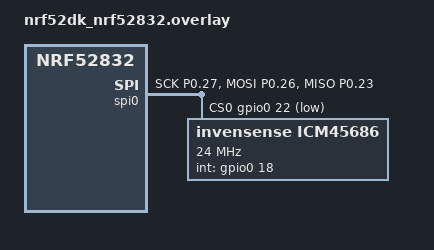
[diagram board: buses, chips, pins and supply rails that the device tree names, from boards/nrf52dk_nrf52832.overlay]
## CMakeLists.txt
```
#
# Copyright (c) 2024 TDK Invensense
#
# SPDX-License-Identifier: Apache-2.0
#

cmake_minimum_required(VERSION 3.20.0)
find_package(Zephyr REQUIRED HINTS $ENV{ZEPHYR_BASE})
project(icm45686)

FILE(GLOB app_sources src/*.c)
target_sources(app PRIVATE ${app_sources})
```

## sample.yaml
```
#
# Copyright (c) 2024 TDK Invensense
#
# SPDX-License-Identifier: Apache-2.0
#

sample:
  name: ICM45686 Sensor Sample
tests:
  sample.sensor.icm45686:
    build_only: true
    depends_on: spi
    platform_allow: nrf52dk/nrf52832
    integration_platforms:
      - nrf52dk/nrf52832
    tags: sensors
```

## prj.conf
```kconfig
#
# Copyright (c) 2019 Nordic Semiconductor ASA
#
# SPDX-License-Identifier: Apache-2.0
#

CONFIG_LOG=y
CONFIG_SPI=y
CONFIG_SENSOR=y
CONFIG_CBPRINTF_FP_SUPPORT=y
CONFIG_ICM45686=y
CONFIG_SENSOR_ASYNC_API=y
```

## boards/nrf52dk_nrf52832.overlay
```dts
/*
 * Copyright (c) 2020 TDK Invensense
 *
 * SPDX-License-Identifier: Apache-2.0
 */

/*
 * Get a node identifier for TDK IMU sensor supporting APEX feature.
 */
/ {
	aliases {
		tdk-apex-sensor0 = &icm45686;
	};
};

#include <zephyr/dt-bindings/sensor/icm45686.h>

&pinctrl {
        spi0_default_alt: spi0_default_alt {
                group1 {
                        psels = <NRF_PSEL(SPIM_SCK, 0, 27)>,
                                <NRF_PSEL(SPIM_MOSI, 0, 26)>,
                                <NRF_PSEL(SPIM_MISO, 0, 23)>;
                };
        };

        spi0_sleep_alt: spi0_sleep_alt {
                group1 {
                        psels = <NRF_PSEL(SPIM_SCK, 0, 27)>,
                                <NRF_PSEL(SPIM_MOSI, 0, 26)>,
                                <NRF_PSEL(SPIM_MISO, 0, 23)>;
                        low-power-enable;
                };
        };
};

&spi0 {
        compatible = "nordic,nrf-spi";
        status = "okay";
        pinctrl-0 = <&spi0_default_alt>;
        pinctrl-1 = <&spi0_sleep_alt>;
        pinctrl-names = "default", "sleep";
        cs-gpios = <&gpio0 22 GPIO_ACTIVE_LOW>;
        icm45686:icm45686@0 {
                compatible = "invensense,icm45686";
                spi-max-frequency = <24000000>;
                reg = <0>;
		status = "okay";
                int-gpios = <&gpio0 18 GPIO_ACTIVE_HIGH>;
		label = "icm45686";
	        accel-pwr-mode = <ICM45686_DT_ACCEL_LN>;
	        accel-fs = <ICM45686_DT_ACCEL_FS_32>;
	        accel-odr = <ICM45686_DT_ACCEL_ODR_800>;
	        gyro-pwr-mode= <ICM45686_DT_GYRO_LN>;
	        gyro-fs = <ICM45686_DT_GYRO_FS_4000>;
	        gyro-odr = <ICM45686_DT_GYRO_ODR_800>;
        };
};
      
```

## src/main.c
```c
/*
 * Copyright (c) 2024 TDK Invensense
 *
 * SPDX-License-Identifier: Apache-2.0
 */

//#include <zephyr/kernel.h>
#include <zephyr/device.h>
#include <zephyr/drivers/sensor.h>
#include <stdio.h>

#ifdef CONFIG_ICM45686_STREAM
#define NUM_SENSORS 1

#define ICM45686_TRIGGERS                                   \
        {SENSOR_TRIG_FIFO_FULL, SENSOR_STREAM_DATA_INCLUDE}, \
        {SENSOR_TRIG_FIFO_WATERMARK, SENSOR_STREAM_DATA_INCLUDE}

SENSOR_DT_STREAM_IODEV(
    icm45686_iodev,
    DT_ALIAS(tdk_apex_sensor0),
    ICM45686_TRIGGERS
);
#endif

#ifdef CONFIG_ICM45686_TRIGGER
static const char *now_str(void)
{
	static char buf[16]; /* ...HH:MM:SS.MMM */
	uint32_t now = k_uptime_get_32();
	unsigned int ms = now % MSEC_PER_SEC;
	unsigned int s;
	unsigned int min;
	unsigned int h;

	now /= MSEC_PER_SEC;
	s = now % 60U;
	now /= 60U;
	min = now % 60U;
	now /= 60U;
	h = now;

	snprintf(buf, sizeof(buf), "%u:%02u:%02u.%03u",
		 h, min, s, ms);
	return buf;
}

static int process_icm45686(const struct device *dev)
{
	struct sensor_value accel[3];
	struct sensor_value gyro[3];

	int rc = sensor_sample_fetch(dev);

	if (rc == 0) {
		rc = sensor_channel_get(dev, SENSOR_CHAN_ACCEL_XYZ,
					accel);
	}

	if (rc == 0) {
		rc = sensor_channel_get(dev, SENSOR_CHAN_GYRO_XYZ,
					gyro);
	}

	if (rc == 0) {
		printf("[%s]\n"
		       "  accel % f % f % f m/s/s\n"
		       "  gyro  % f % f % f rad/s\n",
		       now_str(),
		       sensor_value_to_double(&accel[0]),
		       sensor_value_to_double(&accel[1]),
		       sensor_value_to_double(&accel[2]),
		       sensor_value_to_double(&gyro[0]),
		       sensor_value_to_double(&gyro[1]),
                       sensor_value_to_double(&gyro[2]));

	} else {
		printf("sample fetch/get failed: %d\n", rc);
	}

	return rc;
}

static struct sensor_trigger data_trigger;

static void handle_icm45686_drdy(const struct device *dev,
				 const struct sensor_trigger *trig)
{
	int rc = process_icm45686(dev);

	if (rc != 0) {
		printf("cancelling trigger due to failure: %d\n", rc);
		(void)sensor_trigger_set(dev, trig, NULL);
		return;
	}
}
#endif

#ifdef CONFIG_ICM45686_STREAM
RTIO_DEFINE_WITH_MEMPOOL(accel_ctx, NUM_SENSORS, NUM_SENSORS,
                         NUM_SENSORS * 20, 256, sizeof(void *));

static int print_accels_stream(const struct device *dev, struct rtio_iodev *iodev)
{
        int rc = 0;
        struct sensor_three_axis_data accel_data = {0};
        const struct sensor_decoder_api *decoder;
        struct rtio_cqe *cqe;
        uint8_t *buf;
        uint32_t buf_len;
        struct rtio_sqe *handles[NUM_SENSORS];

        /* Start the streams */
        for (int i = 0; i < NUM_SENSORS; i++) {
                printk("sensor_stream\n");
                sensor_stream(iodev, &accel_ctx, NULL, &handles[i]);
        }

        while (1) {
                cqe = rtio_cqe_consume_block(&accel_ctx);

                if (cqe->result != 0) {
                        printk("async read failed %d\n", cqe->result);
                        return cqe->result;
                }
                rc = rtio_cqe_get_mempool_buffer(&accel_ctx, cqe, &buf, &buf_len);

                if (rc != 0) {
                        printk("get mempool buffer failed %d\n", rc);
                        return rc;
                }

                const struct device *sensor = dev;

                rtio_cqe_release(&accel_ctx, cqe);

		                rc = sensor_get_decoder(sensor, &decoder);

                if (rc != 0) {
                        printk("sensor_get_decoder failed %d\n", rc);
                        return rc;
                }

                /* Frame iterator values when data comes from a FIFO */
                uint32_t accel_fit = 0;

                /* Number of accelerometer data frames */
                uint16_t frame_count;

                rc = decoder->get_frame_count(buf,
                                (struct sensor_chan_spec) {SENSOR_CHAN_ACCEL_XYZ, 0}, &frame_count);

                if (rc != 0) {
                        printk("sensor_get_decoder failed %d\n", rc);
                        return rc;
                }
                /* If a tap has occurred lets print it out */
                if (decoder->has_trigger(buf, SENSOR_TRIG_TAP)) {
                        printk("Tap! Sensor %s\n", dev->name);
                }

                /* Decode all available accelerometer sample frames */
                for (int i = 0; i < frame_count; i++) {
                        decoder->decode(buf, (struct sensor_chan_spec) {SENSOR_CHAN_ACCEL_XYZ, 0},
                                        &accel_fit, 1, &accel_data);

                        printk("Accel data for %s (%" PRIq(6) ", %" PRIq(6)
                                        ", %" PRIq(6) ") %lluns\n", dev->name,
                        PRIq_arg(accel_data.readings[0].x, 6, accel_data.shift),
                        PRIq_arg(accel_data.readings[0].y, 6, accel_data.shift),
                        PRIq_arg(accel_data.readings[0].z, 6, accel_data.shift),
                        (accel_data.header.base_timestamp_ns
                        + accel_data.readings[0].timestamp_delta));
                }

                rtio_release_buffer(&accel_ctx, buf, buf_len);
        }

        return rc;
}
#endif

enum icm45686_bus_type {
        ICM45686_BUS_SPI,
        ICM45686_BUS_I2C,
        ICM45686_BUS_I3C,
};

int main(void)
{
	printk("0");
	const struct device *const icm45686 = DEVICE_DT_GET_ONE(invensense_icm45686);
        struct rtio_iodev *iodev = &icm45686_iodev; 

	if (!device_is_ready(icm45686)) {
		printk("sensor icm45686: device not ready.\n");
		return 0;
	}
#ifdef CONFIG_ICM45686_TRIGGER
	data_trigger = (struct sensor_trigger) {
		.type = SENSOR_TRIG_DATA_READY,
		.chan = SENSOR_CHAN_ALL,
	};

	if (sensor_trigger_set(icm45686, &data_trigger,
				handle_icm45686_drdy) < 0) {
		printf("Cannot configure data trigger!!!\n");
		return 0;
	}

#endif

#ifdef CONFIG_ICM45686_STREAM
	int ret= 0;

	while (1) {
		ret = print_accels_stream(icm45686, iodev);
		if (ret < 0) {
			printk("Error while execute print_accels_Stream");
			return 0;
		}
		k_msleep(1000);
	}
#endif
	return 0;
}
```
